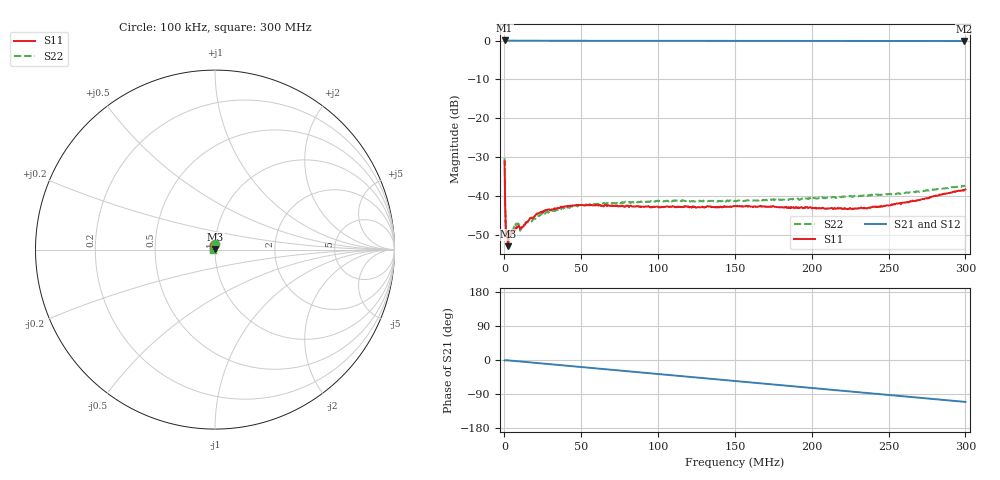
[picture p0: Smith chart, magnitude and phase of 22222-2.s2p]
#  HZ  S  DB  R  50.00
! Rohde & Schwarz Vector Network Analyzer
! Rohde-Schwarz,ZND-2Port,1328517092102334,3.45
! Created: UTC 3/30/2026, 5:33:56 AM
! freq[Hz]  db:S11  ang:S11  db:S21  ang:S21  db:S12  ang:S12  db:S22  ang:S22
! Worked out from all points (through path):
!   801 points, 100 kHz to 300 MHz, reference 50 ohm
!   highest |S21| = 0.02 dB at 100 kHz (marker M1); lowest = -0.1 dB at 299.3 MHz (marker M2)
!   group delay of S21, straight-line fit = 1.02 ns
!   lowest |S11| = -52.8 dB at 2.349 MHz (marker M3), VSWR 1.00, Z = 50.1 + j0.174 ohm
!   |S11| at or under -10 dB: start of sweep to end of sweep
!   |S22| runs from -50.7 to -30.2 dB; largest |S21 - S12| = 0.0021
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100000  -31.02 100.0  0.02 -1.4  0.03 -1.5  -30.22 93.6
1974375  -51.13 45.7  -0.02 -0.9  -0.01 -0.9  -50.25 42.4
2349250  -52.80 49.1  -0.02 -1.0  -0.01 -1.0  -50.71 38.9
3473875  -50.45 45.0  -0.02 -1.4  -0.02 -1.4  -49.47 29.1
4598500  -49.63 29.1  -0.03 -1.8  -0.02 -1.8  -48.88 24.7
7972375  -48.19 21.1  -0.03 -3.0  -0.03 -3.0  -47.24 11.7
1.172112e7  -47.79 22.7  -0.03 -4.4  -0.03 -4.4  -47.85 17.8
1.397038e7  -46.64 22.7  -0.04 -5.2  -0.03 -5.3  -46.94 13.9
1.696938e7  -45.56 19.3  -0.04 -6.4  -0.04 -6.4  -46.43 14.9
2.25925e7  -44.26 15.2  -0.05 -8.5  -0.04 -8.5  -45.09 12.3
2.55915e7  -43.93 16.9  -0.05 -9.6  -0.05 -9.6  -44.14 12.5
3.833725e7  -42.67 4.9  -0.06 -14.3  -0.06 -14.3  -43.13 2.6
5.033325e7  -42.28 -4.4  -0.07 -18.7  -0.07 -18.7  -42.27 -4.9
1.001916e8  -42.76 -29.6  -0.08 -37.1  -0.08 -37.1  -41.30 -30.7
1.5005e8  -42.49 -61.1  -0.09 -55.4  -0.09 -55.4  -41.14 -63.3
1.759164e8  -42.70 -78.0  -0.10 -64.9  -0.10 -64.9  -41.04 -81.4
2.002832e8  -42.96 -99.4  -0.10 -73.9  -0.10 -73.9  -40.35 -98.8
2.268994e8  -43.15 -126.2  -0.11 -83.7  -0.10 -83.7  -40.09 -116.8
2.501416e8  -42.35 -151.2  -0.11 -92.3  -0.11 -92.3  -39.41 -135.1
2.745085e8  -40.49 -173.4  -0.11 -101.2  -0.12 -101.2  -38.43 -154.8
2.992502e8  -38.33 168.7  -0.12 -110.3  -0.12 -110.3  -37.36 -176.2
3e8  -38.23 167.8  -0.12 -110.6  -0.12 -110.6  -37.25 -176.5
